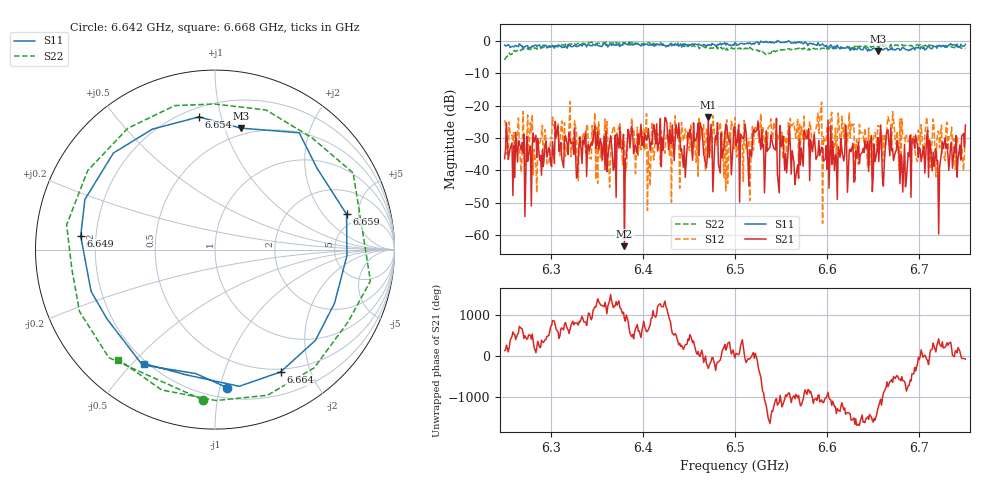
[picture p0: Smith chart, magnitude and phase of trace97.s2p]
# Hz S RI R 50
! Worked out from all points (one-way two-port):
!   401 points, 6.25 GHz to 6.75 GHz, reference 50 ohm
!   highest |S21| = -23.58 dB at 6.471 GHz (marker M1); lowest = -63.5 dB at 6.38 GHz (marker M2)
!   lowest |S11| = -3.2 dB at 6.655 GHz (marker M3), VSWR 5.49, Z = 21.9 + j56.9 ohm
!   |S11| at or under -10 dB: nowhere
!   |S22| runs from -5.9 to -0.2 dB; largest |S21 - S12| = 0.11
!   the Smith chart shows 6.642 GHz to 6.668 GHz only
!   S11 on the Smith chart (normalised r, x): 6.642 GHz: 0.28, -1.05; 6.649 GHz: 0.14, +0.05; 6.654 GHz: 0.26, +0.85; 6.659 GHz: 3.85, +3.58; 6.664 GHz: 0.46, -1.57; 6.668 GHz: 0.19, -0.54
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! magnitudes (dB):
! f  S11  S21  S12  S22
! 6.25 GHz  -1.2  -36.4  -24.5  -5.9
! 6.278 GHz  -1.8  -32.5  -25.2  -2.6
! 6.284 GHz  -1.3  -29.2  -38.6  -2.1
! 6.289 GHz  -2.0  -35.4  -30.6  -2.3
! 6.334 GHz  -1.5  -37.9  -30.9  -0.8
! 6.376 GHz  -1.2  -33.0  -28.2  -0.3
! 6.38 GHz  -0.7  -63.5  -31.2  -0.8
! 6.386 GHz  -1.2  -33.1  -31.1  -0.5
! 6.418 GHz  -1.3  -30.6  -29.1  -0.6
! 6.471 GHz  -1.2  -23.6  -29.9  -2.1
! 6.5 GHz  -0.5  -26.9  -23.7  -2.4
! 6.566 GHz  -0.7  -41.9  -30.0  -2.5
! 6.584 GHz  -0.9  -34.3  -32.8  -2.5
! 6.642 GHz  -2.2  -33.3  -29.9  -1.5
! 6.649 GHz  -2.5  -46.6  -42.0  -1.5
! 6.654 GHz  -2.6  -34.0  -32.3  -1.8
! 6.655 GHz  -3.2  -29.9  -26.1  -1.6
! 6.659 GHz  -2.4  -33.1  -33.5  -1.6
! 6.664 GHz  -2.2  -29.3  -31.9  -1.3
! 6.668 GHz  -2.5  -35.5  -25.4  -1.8
! 6.721 GHz  -1.4  -59.8  -27.9  -1.4
! 6.75 GHz  -1.0  -26.0  -29.3  -2.3
